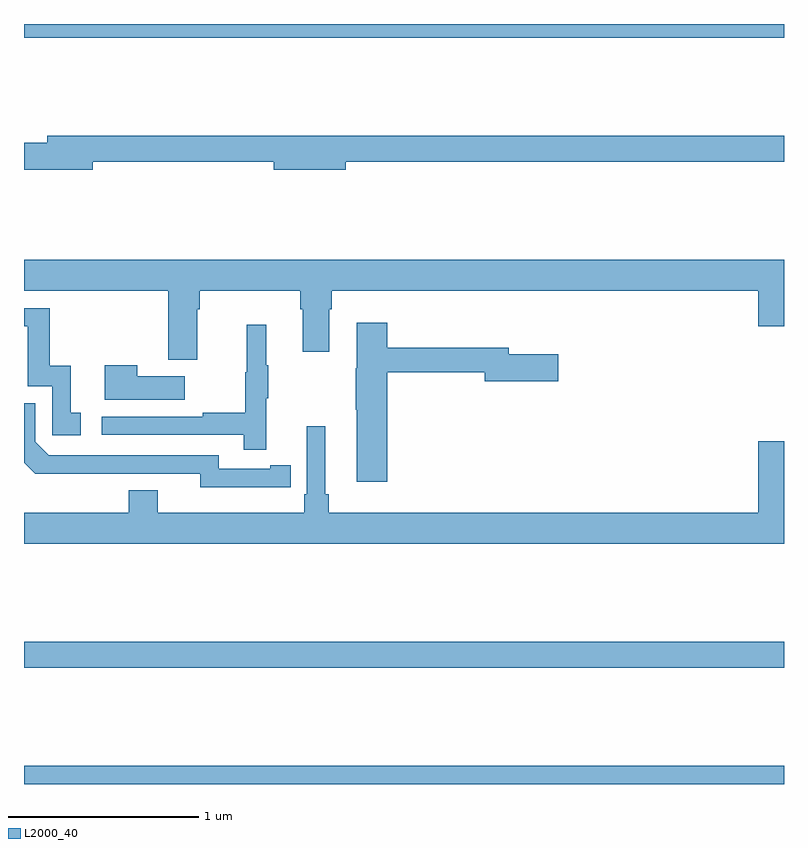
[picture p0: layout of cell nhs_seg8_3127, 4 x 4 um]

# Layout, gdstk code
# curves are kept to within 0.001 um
import gdstk
lib = gdstk.Library(unit=1e-6, precision=1e-09)
def R(c, l, rs):  # rectangles x0, y0, x1, y1
    for r in rs: c.add(gdstk.rectangle(r[:2], r[2:], *l))
def P(c, l, *ps):  # polygons
    for p in ps: c.add(gdstk.Polygon(p, *l))
L2000_40 = (2000, 40)

nhs_seg8_3127 = lib.new_cell('nhs_seg8_3127')
R(nhs_seg8_3127, L2000_40, [(305,1117.9,309,1117.996), (305,1118.512,309,1118.648), (305,1121.828,309,1121.9)])
P(nhs_seg8_3127, L2000_40, [(305.362,1121.176),(306.314,1121.176),(306.314,1121.134),(306.694,1121.134),(306.694,1121.176),(309,1121.176),(309,1121.312),(305.123,1121.312),(305.123,1121.276),(305,1121.276),(305,1121.134),(305.362,1121.134)],
  [(305.911,1120.4),(305.924,1120.4),(305.924,1120.496),(306.455,1120.496),(306.455,1120.4),(306.467,1120.4),(306.467,1120.176),(306.607,1120.176),(306.607,1120.4),(306.62,1120.4),(306.62,1120.496),(308.864,1120.496),(308.864,1120.308),(309,1120.308),(309,1120.66),(305,1120.66),(305,1120.496),(305.759,1120.496),(305.759,1120.134),(305.911,1120.134)],
  [(305.299,1119.855),(305.246,1119.855),(305.246,1120.102),(305.135,1120.102),(305.135,1120.404),(305,1120.404),(305,1120.308),(305.019,1120.308),(305.019,1119.993),(305.148,1119.993),(305.148,1119.735),(305.299,1119.735)],
  [(306.911,1120.066),(307.424,1120.066),(307.424,1120.019),(307.813,1120.019),(307.813,1120.161),(307.552,1120.161),(307.552,1120.195),(306.911,1120.195),(306.911,1120.327),(306.752,1120.327),(306.752,1120.089),(306.745,1120.089),(306.745,1119.871),(306.752,1119.871),(306.752,1119.492),(306.911,1119.492)],
  [(306.275,1119.931),(306.286,1119.931),(306.286,1120.105),(306.275,1120.105),(306.275,1120.318),(306.172,1120.318),(306.172,1120.068),(306.165,1120.068),(306.165,1119.854),(305.941,1119.854),(305.941,1119.834),(305.409,1119.834),(305.409,1119.738),(306.157,1119.738),(306.157,1119.66),(306.275,1119.66)],
  [(305.845,1120.045),(305.597,1120.045),(305.597,1120.105),(305.426,1120.105),(305.426,1119.923),(305.845,1119.923)],
  [(306.296,1119.462),(306.404,1119.462),(306.404,1119.578),(306.296,1119.578),(306.296,1119.558),(306.024,1119.558),(306.024,1119.63),(305.13,1119.63),(305.058,1119.702),(305.058,1119.903),(305,1119.903),(305,1119.592),(305.06,1119.533),(305.928,1119.534),(305.928,1119.461)],
  [(309,1119.703),(308.864,1119.703),(308.864,1119.328),(306.605,1119.328),(306.605,1119.424),(306.586,1119.424),(306.586,1119.784),(306.489,1119.784),(306.489,1119.424),(306.476,1119.424),(306.476,1119.328),(305.704,1119.328),(305.704,1119.445),(305.552,1119.445),(305.552,1119.328),(305,1119.328),(305,1119.164),(309,1119.164)])

lib.write_gds('nhs_seg8_3127.gds')
